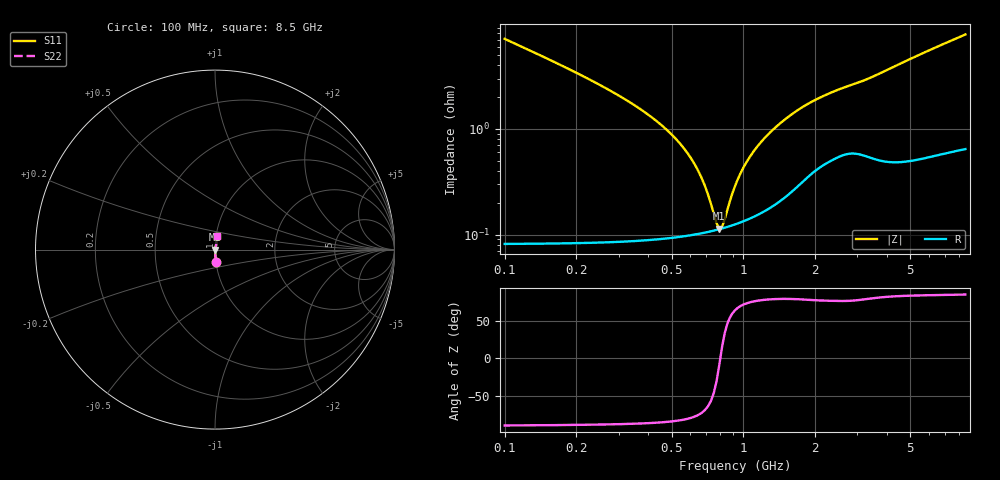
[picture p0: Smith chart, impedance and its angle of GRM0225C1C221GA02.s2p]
!Murata Part Number: GRM0225C1C221GA02
!These Parameters are Measured in Series Mode Connection
!Data Generated on Mar 30, 2021
!  o--ll--o
!Port1  Port2
!  o------o
!Operation Temp=25[degC], DC Bias Voltage=0[V]
!Freq. Start=100[MHz] Stop=9[GHz] 401[Steps]
# Hz S RI R 50
!Freq.(Hz) S11(Real) S11(Imag) S21(Real) S21(Imag) S12(Real) S12(Imag) S22(Real) S22(Imag)
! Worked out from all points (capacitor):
!   401 points, 100 MHz to 8.5 GHz, reference 50 ohm
!   read as one part in series: C = 220 pF near 142 MHz
!   lowest |Z| = 113 mohm at 793 MHz (marker M1)
!   series resonance near 799.9 MHz, so ESL is about 180 pH
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1e8  0.00585 -0.0707  0.9942 0.0707  0.9942 0.0707  0.00585 -0.0707
2.47e8  0.00154 -0.0264  0.9985 0.0264  0.9985 0.0264  0.00154 -0.0264
4.99e8  0.00101 -0.00885  0.999 0.00885  0.999 0.00885  0.00101 -0.00885
5.83e8  0.00101 -0.00581  0.999 0.00581  0.999 0.00581  0.00101 -0.00581
6.67e8  0.00104 -0.0033  0.999 0.0033  0.999 0.0033  0.00104 -0.0033
7.51e8  0.00109 -0.00114  0.9989 0.00114  0.9989 0.00114  0.00109 -0.00114
7.72e8  0.00111 -0.000641  0.9989 0.000641  0.9989 0.000641  0.00111 -0.000641
7.93e8  0.00112 -0.000155  0.9989 0.000155  0.9989 0.000155  0.00112 -0.000155
8.14e8  0.00114 0.000318  0.9989 -0.000318  0.9989 -0.000318  0.00114 0.000318
8.35e8  0.00116 0.00078  0.9988 -0.00078  0.9988 -0.00078  0.00116 0.00078
9.19e8  0.00125 0.00252  0.9988 -0.00252  0.9988 -0.00252  0.00125 0.00252
9.61e8  0.0013 0.00335  0.9987 -0.00335  0.9987 -0.00335  0.0013 0.00335
1.066e9  0.00145 0.00528  0.9986 -0.00528  0.9986 -0.00528  0.00145 0.00528
1.255e9  0.00178 0.00845  0.9982 -0.00845  0.9982 -0.00845  0.00178 0.00845
1.507e9  0.00243 0.0122  0.9976 -0.0122  0.9976 -0.0122  0.00243 0.0122
1.759e9  0.00335 0.0156  0.9967 -0.0156  0.9967 -0.0156  0.00335 0.0156
2.053e9  0.00453 0.0188  0.9955 -0.0188  0.9955 -0.0188  0.00453 0.0188
2.914e9  0.00647 0.0257  0.9935 -0.0257  0.9935 -0.0257  0.00647 0.0257
4.3e9  0.00629 0.0384  0.9937 -0.0384  0.9937 -0.0384  0.00629 0.0384
5.707e9  0.00794 0.0518  0.9921 -0.0518  0.9921 -0.0518  0.00794 0.0518
7.114e9  0.0101 0.0645  0.9899 -0.0645  0.9899 -0.0645  0.0101 0.0645
8.5e9  0.0123 0.0766  0.9877 -0.0766  0.9877 -0.0766  0.0123 0.0766
